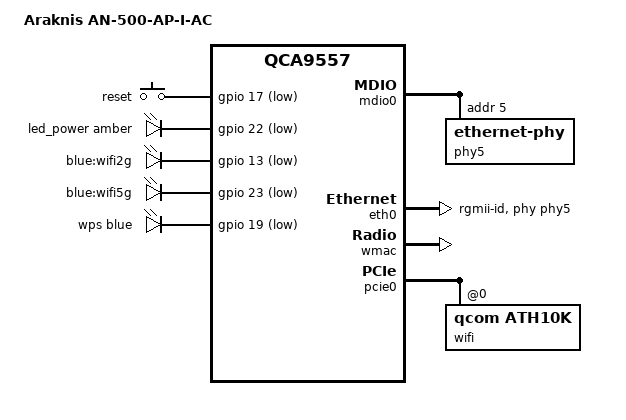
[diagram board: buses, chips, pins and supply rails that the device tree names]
// SPDX-License-Identifier: GPL-2.0-or-later OR MIT

#include "qca955x_senao_loader.dtsi"

#include <dt-bindings/gpio/gpio.h>
#include <dt-bindings/input/input.h>
#include <dt-bindings/leds/common.h>

/ {
	compatible = "araknis,an-500-ap-i-ac", "qca,qca9557";
	model = "Araknis AN-500-AP-I-AC";

	aliases {
		label-mac-device = &eth0;
		led-boot = &led_power;
		led-failsafe = &led_power;
		led-upgrade = &led_power;
	};

	keys {
		compatible = "gpio-keys";

		reset {
			linux,code = <KEY_RESTART>;
			gpios = <&gpio 17 GPIO_ACTIVE_LOW>;
			debounce-interval = <60>;
		};
	};

	leds {
		compatible = "gpio-leds";

		led_power: power {
			function = LED_FUNCTION_POWER;
			color = <LED_COLOR_ID_AMBER>;
			gpios = <&gpio 22 GPIO_ACTIVE_LOW>;
			default-state = "off";
		};

		wifi2g {
			label = "blue:wifi2g";
			gpios = <&gpio 13 GPIO_ACTIVE_LOW>;
			linux,default-trigger = "phy1tpt";
		};

		wifi5g {
			label = "blue:wifi5g";
			gpios = <&gpio 23 GPIO_ACTIVE_LOW>;
			linux,default-trigger = "phy0tpt";
		};

		wps {
			function = LED_FUNCTION_WPS;
			color = <LED_COLOR_ID_BLUE>;
			gpios = <&gpio 19 GPIO_ACTIVE_LOW>;
		};
	};
};

&partitions {
	partition@ff0000 {
		label = "art";
		reg = <0xff0000 0x010000>;
		read-only;

		nvmem-layout {
			compatible = "fixed-layout";
			#address-cells = <1>;
			#size-cells = <1>;

			macaddr_art_0: macaddr@0 {
				compatible = "mac-base";
				reg = <0x0 0x6>;
				#nvmem-cell-cells = <1>;
			};

			cal_art_1000: calibration@1000 {
				reg = <0x1000 0x440>;
			};

			cal_art_5000: calibration@5000 {
				reg = <0x5000 0x844>;
			};
		};
	};
};

&mdio0 {
	status = "okay";

	phy5: ethernet-phy@5 {
		reg = <5>;
		eee-broken-100tx;
		eee-broken-1000t;
	};
};

&eth0 {
	status = "okay";

	nvmem-cells = <&macaddr_art_0 0>;
	nvmem-cell-names = "mac-address";

	phy-handle = <&phy5>;
	phy-mode = "rgmii-id";

	pll-data = <0x82000000 0x80000101 0x80001313>;
};

&wmac {
	status = "okay";

	nvmem-cells = <&macaddr_art_0 1>, <&cal_art_1000>;
	nvmem-cell-names = "mac-address", "calibration";
};

&pcie0 {
	status = "okay";

	wifi@0,0 {
		compatible = "qcom,ath10k";
		reg = <0x0000 0 0 0 0>;
		nvmem-cells = <&cal_art_5000>, <&macaddr_art_0 2>;
		nvmem-cell-names = "calibration", "mac-address";
	};
};
